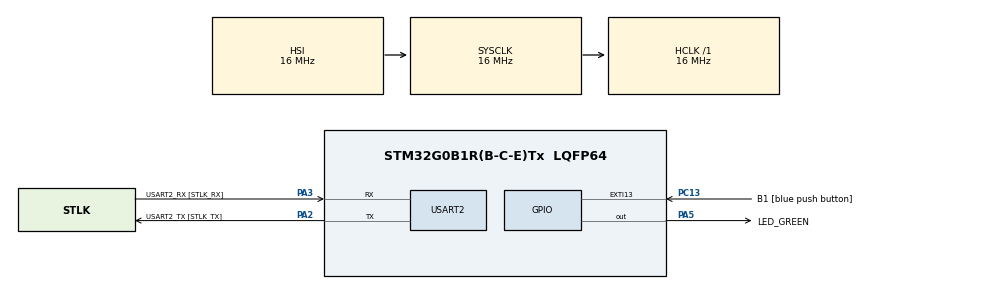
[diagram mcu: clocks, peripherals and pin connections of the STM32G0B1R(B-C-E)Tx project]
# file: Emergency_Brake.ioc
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FREERTOS.Events01=SafetyEventFlags,Dynamic,NULL
FREERTOS.Queues01=SpeedQueue,16,uint16_t,0,Dynamic,NULL,NULL;DistanceQueue,16,uint16_t,0,Dynamic,NULL,NULL
FREERTOS.Tasks01=defaultTask,24,128,StartDefaultTask,Default,NULL,Dynamic,NULL,NULL;SpeedTask,9,128,StartSpeedTask,Default,NULL,Dynamic,NULL,NULL;DistanceTask,8,128,StartDistanceTask,Default,NULL,Dynamic,NULL,NULL;ControlTask,16,128,StartControlTask,Default,NULL,Dynamic,NULL,NULL;WarningTask,24,128,StartWarningTask,Default,NULL,Dynamic,NULL,NULL;BrakeTask,40,128,StartBrakeTask,Default,NULL,Dynamic,NULL,NULL
FREERTOS.Timers01=ResponseTimer,ResponseTimerCallback,osTimerOnce,Default,NULL,Dynamic,NULL
FREERTOS.configTOTAL_HEAP_SIZE=15360
FREERTOS.configUSE_NEWLIB_REENTRANT=1
Mcu.Family=STM32G0
Mcu.Name=STM32G0B1R(B-C-E)Tx
Mcu.Package=LQFP64
NVIC.TIM6_DAC_LPTIM1_IRQn=true\:3\:0\:false\:false\:true\:false\:false\:true\:true
NVIC.TimeBase=TIM6_DAC_LPTIM1_IRQn
NVIC.TimeBaseIP=TIM6
PA13.GPIO_Label=TMS
PA13.Mode=Serial_Wire
PA13.Signal=SYS_SWDIO
PA14-BOOT0.GPIO_Label=TCK
PA14-BOOT0.Mode=Serial_Wire
PA14-BOOT0.Signal=SYS_SWCLK
PA2.GPIO_Label=USART2_TX [STLK_TX]
PA2.Mode=Asynchronous
PA2.Signal=USART2_TX
PA3.GPIO_Label=USART2_RX [STLK_RX]
PA3.Mode=Asynchronous
PA3.Signal=USART2_RX
PA5.GPIO_Label=LED_GREEN
PA5.GPIO_Speed=GPIO_SPEED_FREQ_HIGH
PA5.Signal=GPIO_Output
PC13.GPIO_Label=B1 [blue push button]
PC13.Signal=GPXTI13
PC14-OSC32_IN\ (PC14).Mode=LSE-External-Oscillator
PC14-OSC32_IN\ (PC14).Signal=RCC_OSC32_IN
PC15-OSC32_OUT\ (PC15).Mode=LSE-External-Oscillator
PC15-OSC32_OUT\ (PC15).Signal=RCC_OSC32_OUT
PF0-OSC_IN\ (PF0).GPIO_Label=MCO
PF0-OSC_IN\ (PF0).Mode=HSE-External-Clock-Source
PF0-OSC_IN\ (PF0).Signal=RCC_OSC_IN
ProjectManager.HeapSize=0x200
ProjectManager.StackSize=0x400
ProjectManager.TargetToolchain=STM32CubeIDE
RCC.AHBFreq_Value=16000000
RCC.CortexFreq_Value=16000000
RCC.EXTERNAL_CLOCK_VALUE=12288000
RCC.HCLKFreq_Value=16000000
RCC.HSE_VALUE=8000000
RCC.HSI48_VALUE=48000000
RCC.HSI_VALUE=16000000
RCC.SYSCLKFreq_VALUE=16000000
RCC.USBFreq_Value=48000000
RCC.VCOOutputFreq_Value=128000000
USART2.VirtualMode-Asynchronous=VM_ASYNC
VP_FREERTOS_VS_CMSIS_V2.Mode=CMSIS_V2
VP_SYS_VS_DBSignals.Mode=DisableDeadBatterySignals
VP_SYS_VS_tim6.Mode=TIM6
board=NUCLEO-G0B1RE

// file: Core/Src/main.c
/* USER CODE BEGIN Header */
/**
 ******************************************************************************
 * @file           : main.c
 * @brief          : Main program body
 ******************************************************************************
 * @attention
 *
 * Copyright (c) 2026 STMicroelectronics.
 * All rights reserved.
 *
 * This software is licensed under terms that can be found in the LICENSE file
 * in the root directory of this software component.
 * If no LICENSE file comes with this software, it is provided AS-IS.
 *
 ******************************************************************************
 */
/* USER CODE END Header */
#include "main.h"
#include "cmsis_os.h"

/* USER CODE BEGIN Includes */
#include <stdio.h>
#include <string.h>
/* USER CODE END Includes */

/* USER CODE BEGIN PD */
# define WARNING		(1U << 0)
# define BRAKE_TIMEOUT	(1U << 1)
# define EMERGENCY		(1U << 2)
/* USER CODE END PD */

UART_HandleTypeDef huart2;

/* Definitions for defaultTask */
osThreadId_t defaultTaskHandle;
const osThreadAttr_t defaultTask_attributes = { .name = "defaultTask",
		.priority = (osPriority_t) osPriorityNormal, .stack_size = 128 * 4 };
/* Definitions for SpeedTask */
osThreadId_t SpeedTaskHandle;
const osThreadAttr_t SpeedTask_attributes = { .name = "SpeedTask", .priority =
		(osPriority_t) osPriorityLow1, .stack_size = 128 * 4 };
/* Definitions for DistanceTask */
osThreadId_t DistanceTaskHandle;
const osThreadAttr_t DistanceTask_attributes = { .name = "DistanceTask",
		.priority = (osPriority_t) osPriorityLow, .stack_size = 128 * 4 };
/* Definitions for ControlTask */
osThreadId_t ControlTaskHandle;
const osThreadAttr_t ControlTask_attributes =
		{ .name = "ControlTask", .priority =
				(osPriority_t) osPriorityBelowNormal, .stack_size = 128 * 4 };
/* Definitions for WarningTask */
osThreadId_t WarningTaskHandle;
const osThreadAttr_t WarningTask_attributes = { .name = "WarningTask",
		.priority = (osPriority_t) osPriorityNormal, .stack_size = 128 * 4 };
/* Definitions for BrakeTask */
osThreadId_t BrakeTaskHandle;
const osThreadAttr_t BrakeTask_attributes = { .name = "BrakeTask", .priority =
		(osPriority_t) osPriorityHigh, .stack_size = 128 * 4 };
/* Definitions for SpeedQueue */
osMessageQueueId_t SpeedQueueHandle;
const osMessageQueueAttr_t SpeedQueue_attributes = { .name = "SpeedQueue" };
/* Definitions for DistanceQueue */
osMessageQueueId_t DistanceQueueHandle;
const osMessageQueueAttr_t DistanceQueue_attributes =
		{ .name = "DistanceQueue" };
/* Definitions for ResponseTimer */
osTimerId_t ResponseTimerHandle;
const osTimerAttr_t ResponseTimer_attributes = { .name = "ResponseTimer" };
/* Definitions for SafetyEventFlags */
osEventFlagsId_t SafetyEventFlagsHandle;
const osEventFlagsAttr_t SafetyEventFlags_attributes = { .name =
		"SafetyEventFlags" };

void SystemClock_Config(void);
static void MX_GPIO_Init(void);
static void MX_USART2_UART_Init(void);
void StartDefaultTask(void *argument);
void StartSpeedTask(void *argument);
void StartDistanceTask(void *argument);
void StartControlTask(void *argument);
void StartWarningTask(void *argument);
void StartBrakeTask(void *argument);
void ResponseTimerCallback(void *argument);

/* USER CODE BEGIN 0 */
static void uart_print(const char *s) {
	HAL_UART_Transmit(&huart2, (uint8_t*) s, (uint16_t) strlen(s), 100);
}
/* USER CODE END 0 */

int main(void) {

	/* MCU Configuration--------------------------------------------------------*/

	/* Reset of all peripherals, Initializes the Flash interface and the Systick. */
	HAL_Init();

	/* Configure the system clock */
	SystemClock_Config();

	/* Initialize all configured peripherals */
	MX_GPIO_Init();
	MX_USART2_UART_Init();

	/* Init scheduler */
	osKernelInitialize();

	/* Create the timer(s) */
	/* creation of ResponseTimer */
	ResponseTimerHandle = osTimerNew(ResponseTimerCallback, osTimerOnce, NULL,
			&ResponseTimer_attributes);

	/* Create the queue(s) */
	/* creation of SpeedQueue */
	SpeedQueueHandle = osMessageQueueNew(16, sizeof(uint16_t),
			&SpeedQueue_attributes);

	/* creation of DistanceQueue */
	DistanceQueueHandle = osMessageQueueNew(16, sizeof(uint16_t),
			&DistanceQueue_attributes);

	/* Create the thread(s) */
	/* creation of defaultTask */
	defaultTaskHandle = osThreadNew(StartDefaultTask, NULL,
			&defaultTask_attributes);

	/* creation of SpeedTask */
	SpeedTaskHandle = osThreadNew(StartSpeedTask, NULL, &SpeedTask_attributes);

	/* creation of DistanceTask */
	DistanceTaskHandle = osThreadNew(StartDistanceTask, NULL,
			&DistanceTask_attributes);

	/* creation of ControlTask */
	ControlTaskHandle = osThreadNew(StartControlTask, NULL,
			&ControlTask_attributes);

	/* creation of WarningTask */
	WarningTaskHandle = osThreadNew(StartWarningTask, NULL,
			&WarningTask_attributes);

	/* creation of BrakeTask */
	BrakeTaskHandle = osThreadNew(StartBrakeTask, NULL, &BrakeTask_attributes);

	/* Create the event(s) */
	/* creation of SafetyEventFlags */
	SafetyEventFlagsHandle = osEventFlagsNew(&SafetyEventFlags_attributes);

	/* Start scheduler */
	osKernelStart();

	/* We should never get here as control is now taken by the scheduler */

	/* Infinite loop */
	while (1) {

	}
}

void SystemClock_Config(void) {
	RCC_OscInitTypeDef RCC_OscInitStruct = { 0 };
	RCC_ClkInitTypeDef RCC_ClkInitStruct = { 0 };

	/** Configure the main internal regulator output voltage
	 */
	HAL_PWREx_ControlVoltageScaling(PWR_REGULATOR_VOLTAGE_SCALE1);

	/** Initializes the RCC Oscillators according to the specified parameters
	 * in the RCC_OscInitTypeDef structure.
	 */
	RCC_OscInitStruct.OscillatorType = RCC_OSCILLATORTYPE_HSI;
	RCC_OscInitStruct.HSIState = RCC_HSI_ON;
	RCC_OscInitStruct.HSIDiv = RCC_HSI_DIV1;
	RCC_OscInitStruct.HSICalibrationValue = RCC_HSICALIBRATION_DEFAULT;
	RCC_OscInitStruct.PLL.PLLState = RCC_PLL_NONE;
	if (HAL_RCC_OscConfig(&RCC_OscInitStruct) != HAL_OK) {
		Error_Handler();
	}

	/** Initializes the CPU, AHB and APB buses clocks
	 */
	RCC_ClkInitStruct.ClockType = RCC_CLOCKTYPE_HCLK | RCC_CLOCKTYPE_SYSCLK
			| RCC_CLOCKTYPE_PCLK1;
	RCC_ClkInitStruct.SYSCLKSource = RCC_SYSCLKSOURCE_HSI;
	RCC_ClkInitStruct.AHBCLKDivider = RCC_SYSCLK_DIV1;
	RCC_ClkInitStruct.APB1CLKDivider = RCC_HCLK_DIV1;

	if (HAL_RCC_ClockConfig(&RCC_ClkInitStruct, FLASH_LATENCY_0) != HAL_OK) {
		Error_Handler();
	}
}

static void MX_USART2_UART_Init(void) {

	huart2.Instance = USART2;
	huart2.Init.BaudRate = 115200;
	huart2.Init.WordLength = UART_WORDLENGTH_8B;
	huart2.Init.StopBits = UART_STOPBITS_1;
	huart2.Init.Parity = UART_PARITY_NONE;
	huart2.Init.Mode = UART_MODE_TX_RX;
	huart2.Init.HwFlowCtl = UART_HWCONTROL_NONE;
	huart2.Init.OverSampling = UART_OVERSAMPLING_16;
	huart2.Init.OneBitSampling = UART_ONE_BIT_SAMPLE_DISABLE;
	huart2.Init.ClockPrescaler = UART_PRESCALER_DIV1;
	huart2.AdvancedInit.AdvFeatureInit = UART_ADVFEATURE_NO_INIT;
	if (HAL_UART_Init(&huart2) != HAL_OK) {
		Error_Handler();
	}
	if (HAL_UARTEx_SetTxFifoThreshold(&huart2, UART_TXFIFO_THRESHOLD_1_8)
			!= HAL_OK) {
		Error_Handler();
	}
	if (HAL_UARTEx_SetRxFifoThreshold(&huart2, UART_RXFIFO_THRESHOLD_1_8)
			!= HAL_OK) {
		Error_Handler();
	}
	if (HAL_UARTEx_DisableFifoMode(&huart2) != HAL_OK) {
		Error_Handler();
	}

}

static void MX_GPIO_Init(void) {
	GPIO_InitTypeDef GPIO_InitStruct = { 0 };

	/* GPIO Ports Clock Enable */
	__HAL_RCC_GPIOC_CLK_ENABLE();
	__HAL_RCC_GPIOF_CLK_ENABLE();
	__HAL_RCC_GPIOA_CLK_ENABLE();

	/*Configure GPIO pin Output Level */
	HAL_GPIO_WritePin(LED_GREEN_GPIO_Port, LED_GREEN_Pin, GPIO_PIN_RESET);

	/*Configure GPIO pin : B1_Pin */
	GPIO_InitStruct.Pin = B1_Pin;
	GPIO_InitStruct.Mode = GPIO_MODE_IT_RISING;
	GPIO_InitStruct.Pull = GPIO_NOPULL;
	HAL_GPIO_Init(B1_GPIO_Port, &GPIO_InitStruct);

	/*Configure GPIO pin : LED_GREEN_Pin */
	GPIO_InitStruct.Pin = LED_GREEN_Pin;
	GPIO_InitStruct.Mode = GPIO_MODE_OUTPUT_PP;
	GPIO_InitStruct.Pull = GPIO_NOPULL;
	GPIO_InitStruct.Speed = GPIO_SPEED_FREQ_HIGH;
	HAL_GPIO_Init(LED_GREEN_GPIO_Port, &GPIO_InitStruct);

}

void StartDefaultTask(void *argument) {
	for (;;) {
		osDelay(1);
	}
}

void StartSpeedTask(void *argument) {
	/* USER CODE BEGIN StartSpeedTask */
	uint16_t speed = 0;
	uint8_t stopped = 0;
	char msg[64];

	/* Infinite loop */
	for (;;) {
		if (stopped == 0) {
			snprintf(msg, sizeof(msg), "[Speed] %u km/h\r\n",
					(unsigned int) speed);
			uart_print(msg);

			osMessageQueuePut(SpeedQueueHandle, &speed, 0, 0);

			if ((osEventFlagsGet(SafetyEventFlagsHandle) & EMERGENCY) != 0) {
				if (speed > 0) {
					speed -= 10;
				}

				if (speed == 0) {
					uart_print("[System] Vehicle Stopped\r\n");
					stopped = 1;
				}
			}

			else {
				if (speed < 60) {
					speed += 10;
				}
			}
		}

		osDelay(1000);
	}
	/* USER CODE END StartSpeedTask */
}

void StartDistanceTask(void *argument) {
	/* USER CODE BEGIN StartDistanceTask */
	uint16_t distance = 50;
	char msg[64];

	/* Infinite loop */
	for (;;) {
		if ((osEventFlagsGet(SafetyEventFlagsHandle) & EMERGENCY) == 0) {
			snprintf(msg, sizeof(msg), "[Distance] %u m\r\n",
					(unsigned int) distance);

			uart_print(msg);

			osMessageQueuePut(DistanceQueueHandle, &distance, 0, 0);

			if (distance > 10) {
				distance -= 5;
			}
		}

		osDelay(1000);
	}
	/* USER CODE END StartDistanceTask */
}

void StartControlTask(void *argument) {
	/* USER CODE BEGIN StartControlTask */
	uint16_t speed = 0;
	uint16_t distance = 50;
	uint8_t warning_set = 0;

	/* Infinite loop */
	for (;;) {
		osMessageQueueGet(SpeedQueueHandle, &speed, NULL, osWaitForever);
		osMessageQueueGet(DistanceQueueHandle, &distance, NULL, osWaitForever);

		if ((speed >= 40) && (distance <= 30) && (warning_set == 0)) {
			osEventFlagsSet(SafetyEventFlagsHandle, WARNING);
			warning_set = 1;
		}

		osDelay(100);
	}
	/* USER CODE END StartControlTask */
}

void StartWarningTask(void *argument) {
	/* USER CODE BEGIN StartWarningTask */
	/* Infinite loop */
	for (;;) {
		osEventFlagsWait(SafetyEventFlagsHandle,
						 WARNING,
						 osFlagsWaitAny | osFlagsNoClear,
						 osWaitForever);

		uart_print("[Warning] Forward Collision Warning\r\n");
		uart_print("[Timer] Driver Response Timer Start\r\n");

		osTimerStart(ResponseTimerHandle, 3000);

		for (;;) {
			osDelay(1000);
		}
	}
	/* USER CODE END StartWarningTask */
}

void StartBrakeTask(void *argument) {
	/* USER CODE BEGIN StartBrakeTask */
	/* Infinite loop */
	for (;;) {
		osEventFlagsWait(SafetyEventFlagsHandle,
						 BRAKE_TIMEOUT,
						 osFlagsWaitAny | osFlagsNoClear,
						 osWaitForever);

		uart_print("[Timer] Driver Response Timeout\r\n");
		uart_print("[Brake] Emergency Brake Activated\r\n");

		osEventFlagsSet(SafetyEventFlagsHandle, EMERGENCY);

		/* 한 번만 수행 */
		for (;;) {
			osDelay(1000);
		}
	}
	/* USER CODE END StartBrakeTask */
}

/* ResponseTimerCallback function */
void ResponseTimerCallback(void *argument) {
	/* USER CODE BEGIN ResponseTimerCallback */
	osEventFlagsSet(SafetyEventFlagsHandle, BRAKE_TIMEOUT);
	/* USER CODE END ResponseTimerCallback */
}

void HAL_TIM_PeriodElapsedCallback(TIM_HandleTypeDef *htim) {
	if (htim->Instance == TIM6) {
		HAL_IncTick();
	}
}

void Error_Handler(void) {
	__disable_irq();
	while (1) {
	}
}
